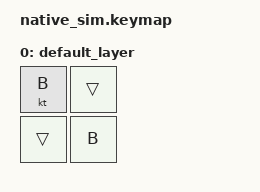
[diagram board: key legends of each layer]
#include "../behavior_keymap.dtsi"

&kt {
    toggle-mode = "on";
};


&mock_input {
    events = <
        ZMK_INPUT_MOCK_PRESS(0,0,10)
        ZMK_INPUT_MOCK_RELEASE(0,0,10)
        ZMK_INPUT_MOCK_PRESS(1,1,10)
        ZMK_INPUT_MOCK_PRESS(0,0,10)
        ZMK_INPUT_MOCK_RELEASE(1,1,10)
        ZMK_INPUT_MOCK_RELEASE(0,0,10)
    >;
};

/ {
    keymap {
        compatible = "zmk,keymap";

        default_layer {
            bindings = <
                &kt B  &trans
                &trans &kp B
            >;
        };
    };
};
